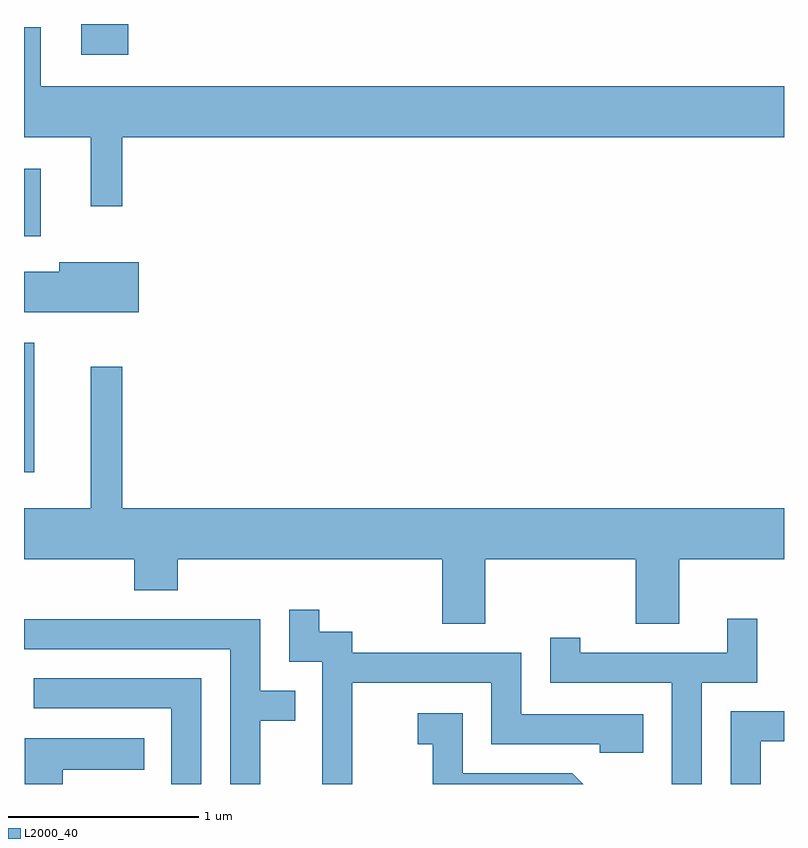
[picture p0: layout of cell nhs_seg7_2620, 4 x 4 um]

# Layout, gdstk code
import gdstk
lib = gdstk.Library(unit=1e-6, precision=1e-09)
def R(c, l, rs):  # rectangles x0, y0, x1, y1
    for r in rs: c.add(gdstk.rectangle(r[:2], r[2:], *l))
def P(c, l, *ps):  # polygons
    for p in ps: c.add(gdstk.Polygon(p, *l))
L2000_40 = (2000, 40)

nhs_seg7_2620 = lib.new_cell('nhs_seg7_2620')
R(nhs_seg7_2620, L2000_40, [(265.611,1705.893,265.664,1706.574), (265.611,1707.136,265.699,1707.489), (265.911,1708.091,266.159,1708.252)])
P(nhs_seg7_2620, L2000_40, [(266.129,1707.656),(269.611,1707.656),(269.611,1707.924),(265.699,1707.924),(265.699,1708.234),(265.611,1708.234),(265.611,1707.656),(265.961,1707.656),(265.961,1707.293),(266.129,1707.293)],
  [(266.214,1706.999),(265.796,1706.999),(265.796,1706.949),(265.611,1706.949),(265.611,1706.736),(266.214,1706.736)],
  [(266.129,1706.448),(265.961,1706.448),(265.961,1705.704),(265.611,1705.704),(265.611,1705.436),(266.191,1705.436),(266.191,1705.271),(266.419,1705.271),(266.419,1705.436),(267.811,1705.436),(267.811,1705.096),(268.039,1705.096),(268.039,1705.436),(268.831,1705.436),(268.831,1705.096),(269.059,1705.096),(269.059,1705.436),(269.611,1705.436),(269.611,1705.704),(266.129,1705.704)],
  [(267.339,1704.786),(268.071,1704.786),(268.071,1704.461),(268.641,1704.461),(268.641,1704.416),(268.869,1704.416),(268.869,1704.619),(268.229,1704.619),(268.229,1704.944),(267.339,1704.944),(267.339,1705.054),(267.164,1705.054),(267.164,1705.168),(267.006,1705.168),(267.006,1704.896),(267.181,1704.896),(267.181,1704.252),(267.339,1704.252)],
  [(269.179,1704.786),(269.469,1704.786),(269.469,1705.123),(269.311,1705.123),(269.311,1704.944),(268.539,1704.944),(268.539,1705.023),(268.381,1705.023),(268.381,1704.786),(269.021,1704.786),(269.021,1704.252),(269.179,1704.252)],
  [(266.854,1704.586),(267.038,1704.586),(267.038,1704.744),(266.854,1704.744),(266.854,1705.119),(265.611,1705.119),(265.611,1704.961),(266.696,1704.961),(266.696,1704.252),(266.854,1704.252)],
  [(266.544,1704.809),(265.663,1704.809),(265.663,1704.651),(266.386,1704.651),(266.386,1704.252),(266.544,1704.252)],
  [(269.489,1704.476),(269.611,1704.476),(269.611,1704.634),(269.331,1704.634),(269.331,1704.252),(269.489,1704.252)],
  [(268.497,1704.309),(267.919,1704.309),(267.919,1704.624),(267.683,1704.624),(267.683,1704.461),(267.761,1704.461),(267.761,1704.252),(268.554,1704.252)],
  [(265.814,1704.326),(266.243,1704.326),(266.243,1704.494),(265.616,1704.494),(265.616,1704.252),(265.814,1704.252)])

lib.write_gds('nhs_seg7_2620.gds')
